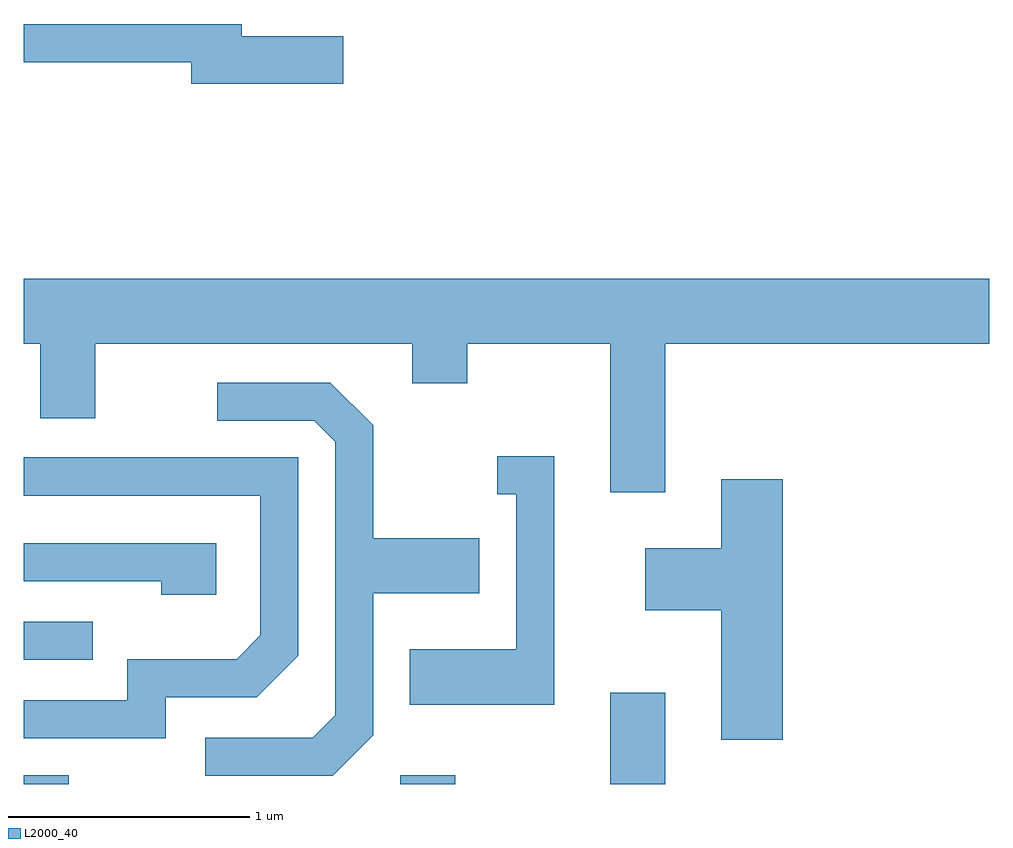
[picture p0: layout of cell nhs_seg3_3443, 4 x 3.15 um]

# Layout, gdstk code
import gdstk
lib = gdstk.Library(unit=1e-6, precision=1e-09)
def R(c, l, rs):  # rectangles x0, y0, x1, y1
    for r in rs: c.add(gdstk.rectangle(r[:2], r[2:], *l))
def P(c, l, *ps):  # polygons
    for p in ps: c.add(gdstk.Polygon(p, *l))
L2000_40 = (2000, 40)

nhs_seg3_3443 = lib.new_cell('nhs_seg3_3443')
R(nhs_seg3_3443, L2000_40, [(285.611,1201.892,285.799,1201.929), (287.171,1201.892,287.399,1201.929), (288.041,1201.892,288.269,1202.269), (285.611,1202.406,285.898,1202.564)])
P(nhs_seg3_3443, L2000_40, [(286.934,1204.989),(286.514,1204.989),(286.514,1205.039),(285.611,1205.039),(285.611,1204.881),(286.306,1204.881),(286.306,1204.791),(286.934,1204.791)],
  [(288.269,1203.716),(289.611,1203.716),(289.611,1203.984),(285.611,1203.984),(285.611,1203.716),(285.681,1203.716),(285.681,1203.406),(285.909,1203.406),(285.909,1203.716),(287.221,1203.716),(287.221,1203.551),(287.449,1203.551),(287.449,1203.716),(288.041,1203.716),(288.041,1203.101),(288.269,1203.101)],
  [(287.059,1202.094),(287.059,1202.681),(287.499,1202.681),(287.499,1202.909),(287.059,1202.909),(287.059,1203.377),(286.882,1203.554),(286.413,1203.554),(286.413,1203.396),(286.814,1203.396),(286.901,1203.309),(286.901,1202.177),(286.809,1202.084),(286.363,1202.084),(286.363,1201.926),(286.892,1201.926)],
  [(287.809,1203.249),(287.573,1203.249),(287.573,1203.091),(287.651,1203.091),(287.651,1202.449),(287.211,1202.449),(287.211,1202.221),(287.809,1202.221)],
  [(286.199,1202.251),(286.577,1202.251),(286.749,1202.424),(286.749,1203.244),(285.611,1203.244),(285.611,1203.086),(286.591,1203.086),(286.591,1202.507),(286.494,1202.409),(286.041,1202.409),(286.041,1202.239),(285.611,1202.239),(285.611,1202.081),(286.199,1202.081)],
  [(288.754,1203.154),(288.501,1203.154),(288.501,1202.869),(288.186,1202.869),(288.186,1202.611),(288.501,1202.611),(288.501,1202.076),(288.754,1202.076)],
  [(286.409,1202.889),(285.611,1202.889),(285.611,1202.731),(286.181,1202.731),(286.181,1202.676),(286.409,1202.676)])

lib.write_gds('nhs_seg3_3443.gds')
